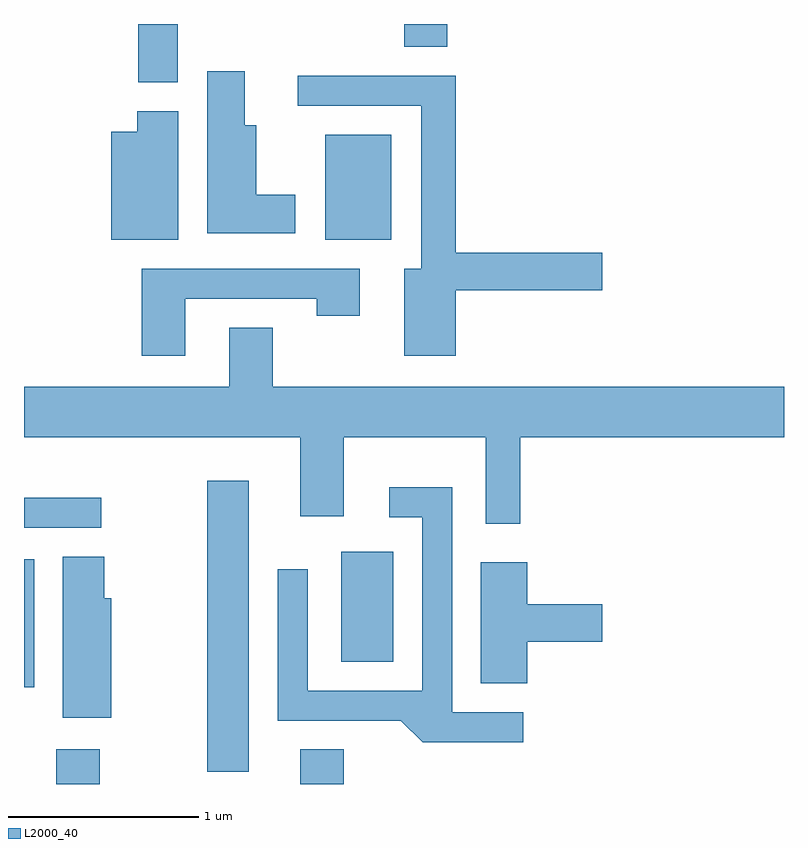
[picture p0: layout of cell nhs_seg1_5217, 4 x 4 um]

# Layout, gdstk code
import gdstk
lib = gdstk.Library(unit=1e-6, precision=1e-09)
def R(c, l, rs):  # rectangles x0, y0, x1, y1
    for r in rs: c.add(gdstk.rectangle(r[:2], r[2:], *l))
def P(c, l, *ps):  # polygons
    for p in ps: c.add(gdstk.Polygon(p, *l))
L2000_40 = (2000, 40)

nhs_seg1_5217 = lib.new_cell('nhs_seg1_5217')
R(nhs_seg1_5217, L2000_40, [(341.781,937.712,342.009,937.894), (343.066,937.712,343.294,937.894), (342.576,937.776,342.794,939.309), (341.611,938.221,341.664,938.894), (343.281,938.356,343.554,938.934), (341.611,939.061,342.018,939.219), (343.196,940.576,343.544,941.129), (342.211,941.406,342.419,941.712), (343.611,941.591,343.839,941.712)])
P(nhs_seg1_5217, L2000_40, [(343.039,940.814),(342.834,940.814),(342.834,941.179),(342.774,941.179),(342.774,941.464),(342.576,941.464),(342.576,940.611),(343.039,940.611)],
  [(343.884,940.311),(344.654,940.311),(344.654,940.509),(343.884,940.509),(343.884,941.439),(343.053,941.439),(343.053,941.281),(343.701,941.281),(343.701,940.424),(343.611,940.424),(343.611,939.966),(343.884,939.966)],
  [(342.424,941.254),(342.206,941.254),(342.206,941.144),(342.071,941.144),(342.071,940.576),(342.424,940.576)],
  [(342.459,940.266),(343.151,940.266),(343.151,940.176),(343.379,940.176),(343.379,940.424),(342.231,940.424),(342.231,939.966),(342.459,939.966)],
  [(344.224,939.536),(345.611,939.536),(345.611,939.804),(342.919,939.804),(342.919,940.114),(342.691,940.114),(342.691,939.804),(341.611,939.804),(341.611,939.536),(343.066,939.536),(343.066,939.121),(343.294,939.121),(343.294,939.536),(344.041,939.536),(344.041,939.081),(344.224,939.081)],
  [(344.238,938.089),(343.864,938.089),(343.864,939.274),(343.533,939.274),(343.533,939.116),(343.706,939.116),(343.706,938.204),(343.104,938.204),(343.104,938.843),(342.946,938.843),(342.946,938.046),(343.594,938.046),(343.709,937.931),(344.238,937.931)],
  [(342.069,938.689),(342.034,938.689),(342.034,938.909),(341.816,938.909),(341.816,938.061),(342.069,938.061)],
  [(344.259,938.461),(344.654,938.461),(344.654,938.659),(344.259,938.659),(344.259,938.879),(344.016,938.879),(344.016,938.241),(344.259,938.241)])

lib.write_gds('nhs_seg1_5217.gds')
